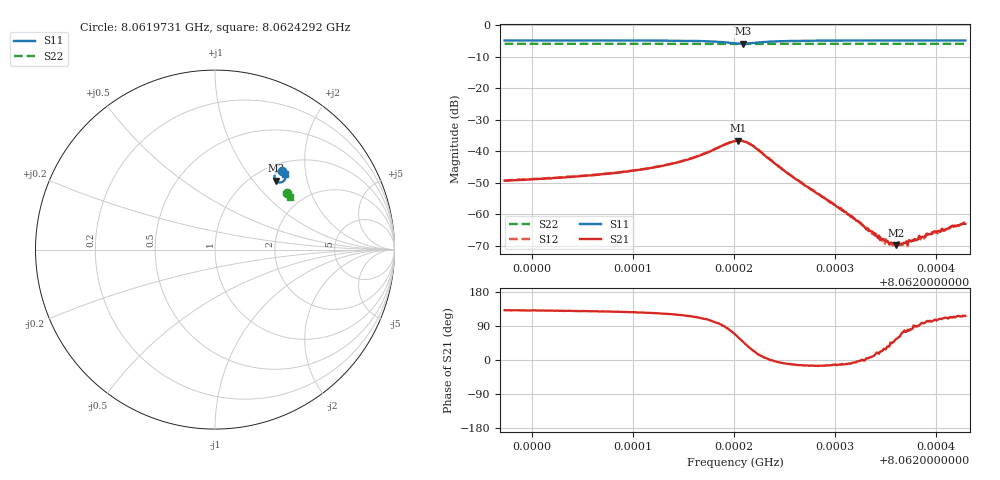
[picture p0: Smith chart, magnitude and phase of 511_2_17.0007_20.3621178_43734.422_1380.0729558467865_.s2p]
#  HZ  S  RI  R  50.00
! Rohde & Schwarz Vector Network Analyzer
! Rohde-Schwarz,ZNB20-2Port,1311601062101988,3.16
! Created: UTC 3/20/2024, 11:15:00 PM
! freq[Hz]  re:S11  im:S11  re:S21  im:S21  re:S12  im:S12  re:S22  im:S22
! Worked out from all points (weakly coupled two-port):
!   401 points, 8.0619731 GHz to 8.0624292 GHz, reference 50 ohm
!   highest |S21| = -36.65 dB at 8.0622046 GHz (marker M1); lowest = -69.9 dB at 8.0623608 GHz (marker M2)
!   lowest |S11| = -5.8 dB at 8.0622091 GHz (marker M3), VSWR 3.10, Z = 63.2 + j65.7 ohm
!   |S11| at or under -10 dB: nowhere
!   |S22| runs from -5.9 to -5.8 dB; largest |S21 - S12| = 0.00096
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8.0619731e9  0.3751 0.4372  -0.00225 0.00254  -0.00213 0.00271  0.4026 0.313
8.06204949e9  0.3813 0.4313  -0.00252 0.00313  -0.0024 0.0033  0.4054 0.309
8.06208712e9  0.3847 0.4272  -0.00279 0.00367  -0.00255 0.00387  0.4068 0.3072
8.06212589e9  0.3889 0.4207  -0.00312 0.00475  -0.00287 0.00504  0.4084 0.3049
8.06216009e9  0.3927 0.4084  -0.00323 0.00717  -0.00284 0.00746  0.4095 0.3028
8.06220114e9  0.3593 0.374  0.00549 0.0133  0.00624 0.0132  0.4088 0.2997
8.06220456e9  0.3504 0.3762  0.00743 0.0127  0.00821 0.0123  0.4085 0.2997
8.06220912e9  0.3395 0.3834  0.00959 0.0107  0.0103 0.0102  0.4083 0.2999
8.06221938e9  0.3311 0.4086  0.011 0.00492  0.0113 0.00423  0.4087 0.3009
8.06225017e9  0.3571 0.4354  0.00481 -0.000751  0.0048 -0.00106  0.4113 0.3001
8.06227753e9  0.3699 0.4348  0.00233 -0.000587  0.00234 -0.000766  0.4128 0.2988
8.06231402e9  0.3781 0.4319  0.000969 -0.000152  0.000949 -0.000191  0.4144 0.2967
8.06234709e9  0.3829 0.4292  0.000365 0.000161  0.000354 0.000121  0.4155 0.2949
8.06235393e9  0.3835 0.4287  0.000265 0.000192  0.000265 0.000221  0.4157 0.2943
8.06236077e9  0.3843 0.4283  0.000182 0.000266  0.000193 0.000242  0.4161 0.2941
8.06236989e9  0.3852 0.4276  9.35e-05 0.000334  0.000115 0.000314  0.4163 0.2936
8.06238129e9  0.3864 0.4267  1.41e-05 0.000393  2.16e-05 0.000404  0.4168 0.293
8.06238699e9  0.387 0.4264  -5.54e-05 0.000436  -3.7e-06 0.000443  0.4169 0.2927
8.06239612e9  0.3878 0.4257  -0.0001 0.00047  -9.74e-05 0.000505  0.4174 0.2923
8.06240182e9  0.3883 0.4253  -0.00015 0.000513  -0.000113 0.000481  0.4176 0.2919
8.06241664e9  0.3896 0.4245  -0.000244 0.000608  -0.000253 0.0006  0.4181 0.2911
8.06242918e9  0.3906 0.4237  -0.000312 0.000629  -0.000274 0.000644  0.4184 0.2904
